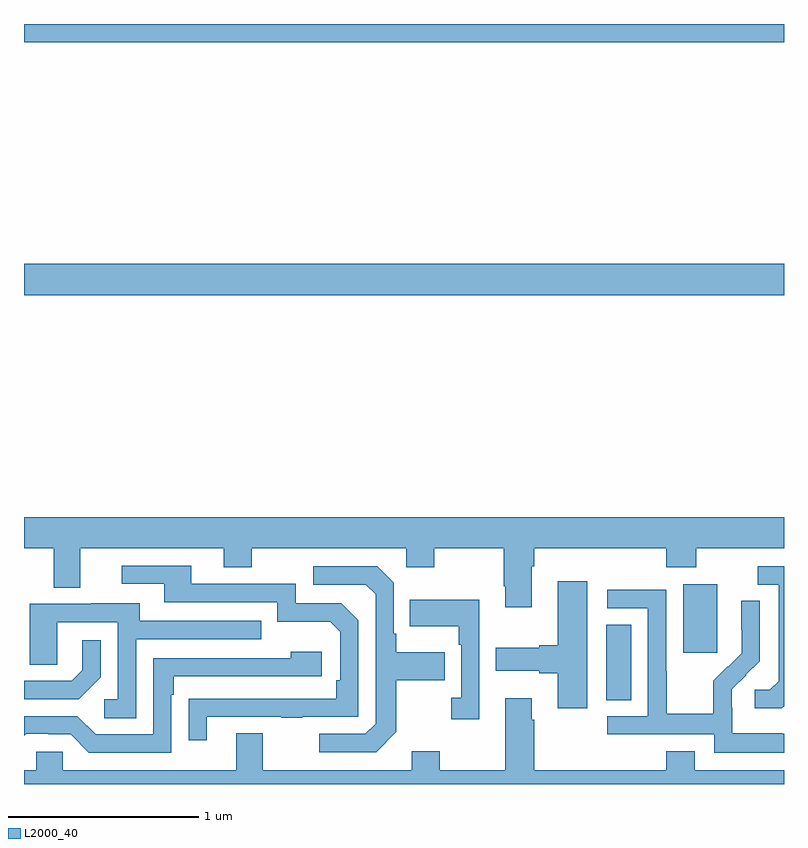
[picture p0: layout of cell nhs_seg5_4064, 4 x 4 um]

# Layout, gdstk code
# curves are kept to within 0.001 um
import gdstk
lib = gdstk.Library(unit=1e-6, precision=1e-09)
def R(c, l, rs):  # rectangles x0, y0, x1, y1
    for r in rs: c.add(gdstk.rectangle(r[:2], r[2:], *l))
def P(c, l, *ps):  # polygons
    for p in ps: c.add(gdstk.Polygon(p, *l))
L2000_40 = (2000, 40)

nhs_seg5_4064 = lib.new_cell('nhs_seg5_4064')
R(nhs_seg5_4064, L2000_40, [(352.064,909.241,352.195,909.638), (352.469,909.489,352.648,909.85), (349,911.372,353,911.536), (349,912.704,353,912.799)])
P(nhs_seg5_4064, L2000_40, [(351.673,909.944),(351.686,909.944),(351.686,910.04),(352.379,910.04),(352.379,909.941),(352.539,909.941),(352.539,910.04),(353,910.04),(353,910.204),(349,910.204),(349,910.04),(349.157,910.04),(349.157,909.832),(349.297,909.832),(349.297,910.04),(350.051,910.04),(350.051,909.941),(350.199,909.941),(350.199,910.04),(351.012,910.04),(351.012,909.941),(351.159,909.941),(351.159,910.04),(351.526,910.04),(351.526,909.841),(351.533,909.841),(351.533,909.729),(351.673,909.729)],
  [(349.963,909.153),(350.353,909.153),(350.353,909.148),(350.465,909.148),(350.465,909.153),(350.76,909.153),(350.76,909.66),(350.67,909.75),(350.43,909.75),(350.43,909.852),(349.879,909.852),(349.879,909.948),(349.515,909.948),(349.515,909.852),(349.739,909.852),(349.739,909.756),(350.334,909.756),(350.334,909.653),(350.611,909.653),(350.664,909.6),(350.664,909.346),(350.644,909.346),(350.644,909.249),(349.867,909.248),(349.867,909.03),(349.963,909.03)],
  [(353,909.209),(353,909.945),(352.863,909.945),(352.863,909.849),(352.973,909.849),(352.973,909.341),(352.926,909.294),(352.845,909.294),(352.845,909.197),(352.988,909.197)],
  [(350.959,909.073),(350.959,909.346),(351.215,909.346),(351.215,909.493),(350.959,909.493),(350.959,909.589),(350.946,909.589),(350.946,909.858),(350.859,909.945),(350.523,909.945),(350.523,909.849),(350.799,909.849),(350.85,909.798),(350.85,909.117),(350.796,909.063),(350.553,909.063),(350.553,908.967),(350.853,908.967)],
  [(351.964,909.865),(351.809,909.865),(351.809,909.53),(351.713,909.53),(351.713,909.517),(351.483,909.517),(351.483,909.395),(351.713,909.395),(351.713,909.383),(351.809,909.383),(351.809,909.198),(351.964,909.198)],
  [(353,909.063),(352.991,909.063),(352.991,909.067),(352.728,909.067),(352.728,909.201),(352.726,909.201),(352.726,909.298),(352.872,909.446),(352.872,909.764),(352.776,909.764),(352.776,909.61),(352.778,909.61),(352.778,909.488),(352.707,909.417),(352.704,909.42),(352.627,909.343),(352.627,909.169),(352.383,909.169),(352.383,909.392),(352.38,909.392),(352.38,909.822),(352.071,909.822),(352.071,909.723),(352.284,909.723),(352.284,909.156),(352.071,909.156),(352.071,909.06),(352.632,909.06),(352.632,908.963),(353,908.963)],
  [(351.396,909.769),(351.031,909.769),(351.031,909.629),(351.288,909.629),(351.288,909.533),(351.3,909.533),(351.3,909.254),(351.249,909.254),(351.249,909.141),(351.396,909.141)],
  [(349.59,909.561),(350.249,909.561),(350.249,909.657),(349.609,909.657),(349.609,909.751),(349.355,909.751),(349.355,909.747),(349.031,909.747),(349.031,909.427),(349.176,909.427),(349.176,909.651),(349.494,909.651),(349.494,909.246),(349.422,909.246),(349.422,909.145),(349.59,909.145)],
  [(349.404,909.362),(349.404,909.556),(349.307,909.556),(349.307,909.399),(349.25,909.342),(349,909.342),(349,909.246),(349.288,909.246)],
  [(349.776,909.269),(349.789,909.269),(349.789,909.366),(350.566,909.366),(350.566,909.496),(350.405,909.496),(350.405,909.462),(349.68,909.462),(349.68,909.06),(349.377,909.06),(349.281,909.156),(349,909.156),(349,909.052),(349.011,909.063),(349.127,909.063),(349.127,909.06),(349.245,909.06),(349.341,908.964),(349.776,908.964)],
  [(353,908.872),(352.531,908.872),(352.531,908.971),(352.379,908.971),(352.379,908.872),(351.686,908.872),(351.686,909.137),(351.673,909.137),(351.673,909.25),(351.533,909.25),(351.533,908.872),(351.189,908.872),(351.189,908.971),(351.041,908.971),(351.041,908.872),(350.257,908.872),(350.257,909.067),(350.117,909.067),(350.117,908.872),(349.203,908.872),(349.203,908.97),(349.065,908.97),(349.065,908.872),(349,908.872),(349,908.799),(353,908.799)])

lib.write_gds('nhs_seg5_4064.gds')
